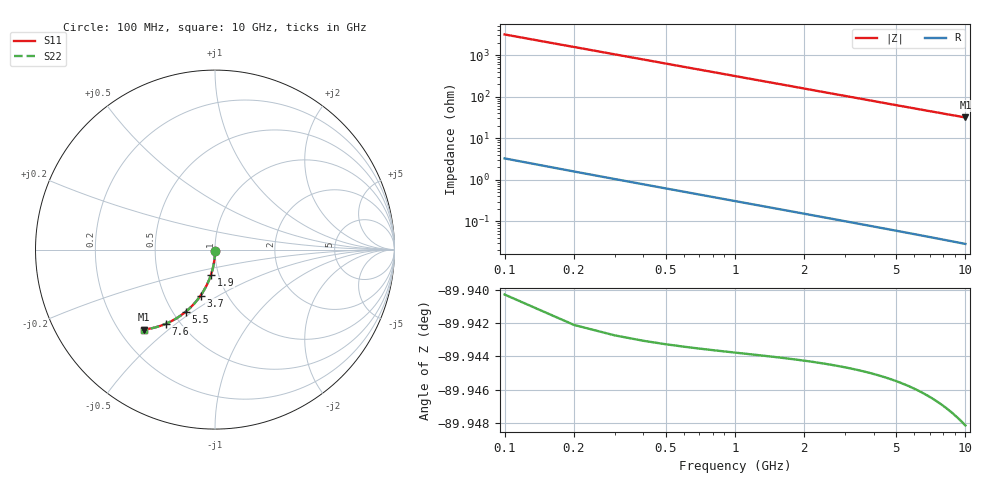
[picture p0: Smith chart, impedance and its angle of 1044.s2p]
# Hz S RI R 50.00
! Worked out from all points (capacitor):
!   100 points, 100 MHz to 10 GHz, reference 50 ohm
!   read as one part in shunt: C = 505 fF near 100 MHz
!   lowest |Z| = 31.8 ohm at 10 GHz (marker M1)
!   S11 on the Smith chart (normalised r, x): 100 MHz: 1.00, -0.02; 1.9 GHz: 0.92, -0.26; 3.7 GHz: 0.75, -0.42; 5.5 GHz: 0.58, -0.47; 7.6 GHz: 0.42, -0.46; 10 GHz: 0.30, -0.41
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1e8  1.82e-05 -0.00751  0.9998 -0.00836  0.9998 -0.00836  1.82e-05 -0.00751
2e8  -0.000177 -0.015  0.9996 -0.0167  0.9996 -0.0167  -0.000177 -0.015
3e8  -0.000499 -0.0225  0.9993 -0.0251  0.9993 -0.0251  -0.000499 -0.0225
4e8  -0.000945 -0.03  0.9989 -0.0334  0.9989 -0.0334  -0.000945 -0.03
5e8  -0.00152 -0.0375  0.9983 -0.0417  0.9983 -0.0417  -0.00152 -0.0375
6e8  -0.00221 -0.045  0.9976 -0.05  0.9976 -0.05  -0.00221 -0.045
8e8  -0.00398 -0.0599  0.9958 -0.0666  0.9958 -0.0666  -0.00398 -0.0599
1.1e9  -0.00755 -0.0821  0.9922 -0.0913  0.9922 -0.0913  -0.00755 -0.0821
1.4e9  -0.0122 -0.104  0.9875 -0.1158  0.9875 -0.1158  -0.0122 -0.104
1.8e9  -0.0201 -0.1327  0.9796 -0.1478  0.9796 -0.1478  -0.0201 -0.1327
1.9e9  -0.0223 -0.1397  0.9774 -0.1558  0.9774 -0.1558  -0.0223 -0.1397
2.2e9  -0.0297 -0.1606  0.9699 -0.1791  0.9699 -0.1791  -0.0297 -0.1606
2.6e9  -0.0411 -0.1875  0.9585 -0.2095  0.9585 -0.2095  -0.0411 -0.1875
3.4e9  -0.0685 -0.2382  0.9309 -0.2671  0.9309 -0.2671  -0.0685 -0.2382
3.7e9  -0.0802 -0.256  0.9191 -0.2874  0.9191 -0.2874  -0.0802 -0.256
4.4e9  -0.1101 -0.2944  0.889 -0.3318  0.889 -0.3318  -0.1101 -0.2944
5.1e9  -0.143 -0.3284  0.8559 -0.3719  0.8559 -0.3719  -0.143 -0.3284
5.5e9  -0.1628 -0.3457  0.8359 -0.3927  0.8359 -0.3927  -0.1628 -0.3457
6.7e9  -0.225 -0.3889  0.7732 -0.4464  0.7732 -0.4464  -0.225 -0.3889
7.6e9  -0.2729 -0.4128  0.7248 -0.4783  0.7248 -0.4783  -0.2729 -0.4128
8.4e9  -0.3152 -0.4283  0.6819 -0.501  0.6819 -0.501  -0.3152 -0.4283
1e10  -0.3969 -0.4455  0.5991 -0.5328  0.5991 -0.5328  -0.3969 -0.4455
